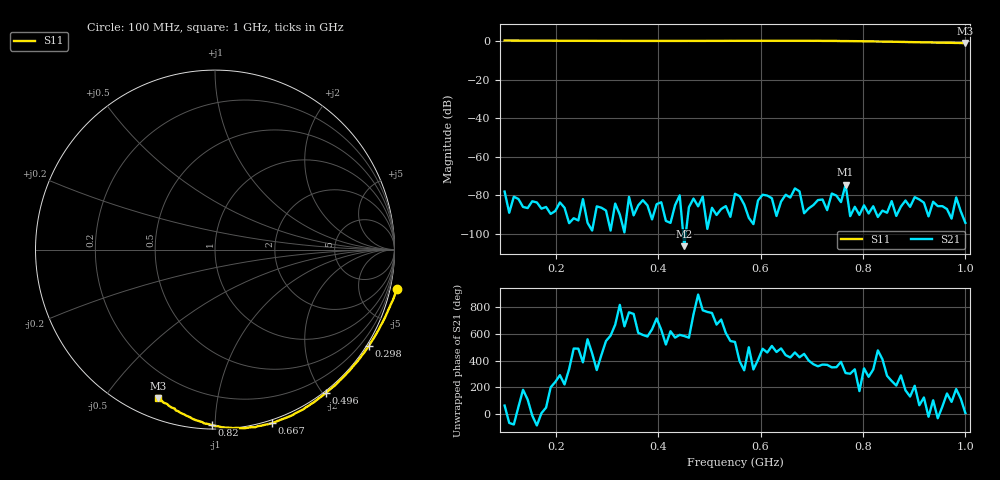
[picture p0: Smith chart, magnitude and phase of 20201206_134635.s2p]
# HZ S RI R 50
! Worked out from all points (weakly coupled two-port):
!   101 points, 100 MHz to 1 GHz, reference 50 ohm
!   highest |S21| = -74.54 dB at 766 MHz (marker M1); lowest = -106.4 dB at 451 MHz (marker M2)
!   lowest |S11| = -1.1 dB at 1 GHz (marker M3), VSWR 16.36, Z = 4.5 - j34.3 ohm
!   |S11| at or under -10 dB: nowhere
!   S12 and S22 are empty: the file has one direction only
!   S11 on the Smith chart (normalised r, x): 100 MHz: -1.50, -9.10; 298 MHz: -0.08, -3.48; 496 MHz: -0.03, -2.04; 667 MHz: -0.03, -1.38; 820 MHz: 0.02, -0.98; 1 GHz: 0.09, -0.69
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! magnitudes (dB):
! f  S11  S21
! 100 MHz  0.3  -78.1
! 109 MHz  0.3  -89.1
! 253 MHz  0.1  -82.0
! 298 MHz  0.1  -87.9
! 406 MHz  0.1  -83.6
! 451 MHz  0.1  -106.4
! 496 MHz  0.1  -97.4
! 541 MHz  0.1  -91.2
! 550 MHz  0.1  -79.2
! 559 MHz  0.1  -80.4
! 658 MHz  0.2  -81.2
! 667 MHz  0.2  -76.4
! 685 MHz  0.1  -89.3
! 703 MHz  0.1  -85.1
! 730 MHz  0.1  -87.7
! 739 MHz  0.1  -79.1
! 757 MHz  0.0  -83.5
! 766 MHz  0.0  -74.5
! 775 MHz  0.0  -90.8
! 820 MHz  -0.2  -85.7
! 856 MHz  -0.4  -83.0
! 1 GHz  -1.1  -94.3
